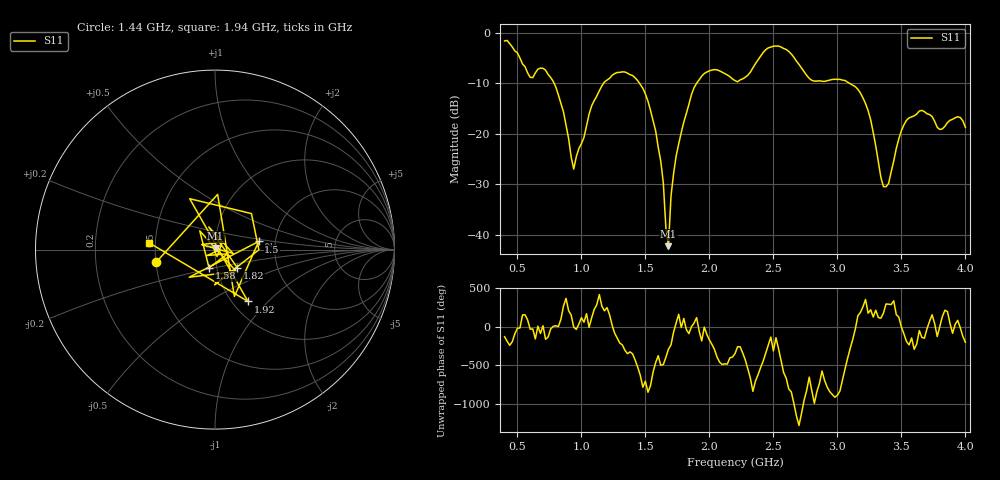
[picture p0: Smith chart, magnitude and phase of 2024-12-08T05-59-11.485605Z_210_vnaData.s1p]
!Created with skrf (http://scikit-rf.org).
# Hz S RI R 50.0
!freq ReS11 ImS11
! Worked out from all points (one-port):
!   181 points, 400 MHz to 4 GHz, reference 50 ohm
!   lowest |S11| = -42.2 dB at 1.68 GHz (marker M1), VSWR 1.02, Z = 50.3 + j0.71 ohm
!   |S11| at or under -10 dB: 786.6 MHz to 1.173 GHz (386.8 MHz wide, 39.5 % of centre); 1.454 GHz to 1.9 GHz (446 MHz wide, 26.6 % of centre); 3.094 GHz to end of sweep
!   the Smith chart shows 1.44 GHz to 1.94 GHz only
!   S11 on the Smith chart (normalised r, x): 1.44 GHz: 0.50, -0.08; 1.5 GHz: 1.63, +0.16; 1.58 GHz: 0.92, -0.19; 1.82 GHz: 1.25, -0.26; 1.92 GHz: 1.18, -0.77; 1.94 GHz: 0.46, +0.04
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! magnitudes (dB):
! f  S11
! 400 MHz  -1.6
! 600 MHz  -8.8
! 720 MHz  -7.4
! 860 MHz  -15.7
! 940 MHz  -27.0
! 1.08 GHz  -14.5
! 1.3 GHz  -7.8
! 1.44 GHz  -9.5
! 1.5 GHz  -12.1
! 1.58 GHz  -19.4
! 1.64 GHz  -29.7
! 1.66 GHz  -38.6
! 1.68 GHz  -42.2
! 1.7 GHz  -32.3
! 1.76 GHz  -22.0
! 1.82 GHz  -16.0
! 1.92 GHz  -9.3
! 1.94 GHz  -8.6
! 2.2 GHz  -9.5
! 2.46 GHz  -3.0
! 2.66 GHz  -4.9
! 2.8 GHz  -9.4
! 3.1 GHz  -10.1
! 3.24 GHz  -15.4
! 3.36 GHz  -30.4
! 3.4 GHz  -29.8
! 3.56 GHz  -16.9
! 4 GHz  -18.7
